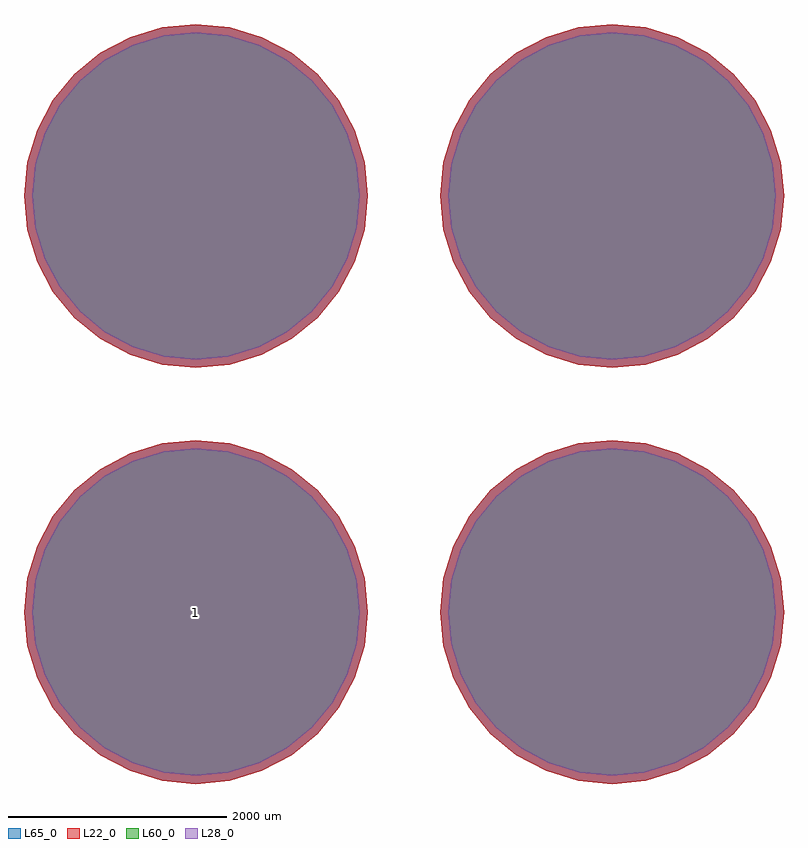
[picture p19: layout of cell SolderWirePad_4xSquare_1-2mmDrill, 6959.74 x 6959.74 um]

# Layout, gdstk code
import gdstk
lib = gdstk.Library(unit=1e-6, precision=1e-09)
def P(c, l, *ps):  # polygons
    for p in ps: c.add(gdstk.Polygon(p, *l))
L22_0 = (22, 0)
L28_0 = (28, 0)
L60_0 = (60, 0)
L65_0 = (65, 0)

solderwirepad_4xsquare_1 = lib.new_cell('SolderWirePad_4xSquare_1-2mmDrill')
P(solderwirepad_4xsquare_1, L22_0, [(3479.87,1905),(3449.609,2212.242),(3359.99,2507.677),(3214.457,2779.951),(3018.601,3018.601),(2779.951,3214.457),(2507.677,3359.99),(2212.242,3449.609),(1905,3479.87),(1597.758,3449.609),(1302.323,3359.99),(1030.049,3214.457),(791.399,3018.601),(595.543,2779.951),(450.01,2507.677),(360.391,2212.242),(330.13,1905),(360.391,1597.758),(450.01,1302.323),(595.543,1030.049),(791.399,791.399),(1030.049,595.543),(1302.323,450.01),(1597.758,360.391),(1905,330.13),(2212.242,360.391),(2507.677,450.01),(2779.951,595.543),(3018.601,791.399),(3214.457,1030.049),(3359.99,1302.323),(3449.609,1597.758)],
  [(-330.13,1905),(-360.391,2212.242),(-450.01,2507.677),(-595.543,2779.951),(-791.399,3018.601),(-1030.049,3214.457),(-1302.323,3359.99),(-1597.758,3449.609),(-1905,3479.87),(-2212.242,3449.609),(-2507.677,3359.99),(-2779.951,3214.457),(-3018.601,3018.601),(-3214.457,2779.951),(-3359.99,2507.677),(-3449.609,2212.242),(-3479.87,1905),(-3449.609,1597.758),(-3359.99,1302.323),(-3214.457,1030.049),(-3018.601,791.399),(-2779.951,595.543),(-2507.677,450.01),(-2212.242,360.391),(-1905,330.13),(-1597.758,360.391),(-1302.323,450.01),(-1030.049,595.543),(-791.399,791.399),(-595.543,1030.049),(-450.01,1302.323),(-360.391,1597.758)],
  [(3479.87,-1905),(3449.609,-1597.758),(3359.99,-1302.323),(3214.457,-1030.049),(3018.601,-791.399),(2779.951,-595.543),(2507.677,-450.01),(2212.242,-360.391),(1905,-330.13),(1597.758,-360.391),(1302.323,-450.01),(1030.049,-595.543),(791.399,-791.399),(595.543,-1030.049),(450.01,-1302.323),(360.391,-1597.758),(330.13,-1905),(360.391,-2212.242),(450.01,-2507.677),(595.543,-2779.951),(791.399,-3018.601),(1030.049,-3214.457),(1302.323,-3359.99),(1597.758,-3449.609),(1905,-3479.87),(2212.242,-3449.609),(2507.677,-3359.99),(2779.951,-3214.457),(3018.601,-3018.601),(3214.457,-2779.951),(3359.99,-2507.677),(3449.609,-2212.242)],
  [(-330.13,-1905),(-360.391,-1597.758),(-450.01,-1302.323),(-595.543,-1030.049),(-791.399,-791.399),(-1030.049,-595.543),(-1302.323,-450.01),(-1597.758,-360.391),(-1905,-330.13),(-2212.242,-360.391),(-2507.677,-450.01),(-2779.951,-595.543),(-3018.601,-791.399),(-3214.457,-1030.049),(-3359.99,-1302.323),(-3449.609,-1597.758),(-3479.87,-1905),(-3449.609,-2212.242),(-3359.99,-2507.677),(-3214.457,-2779.951),(-3018.601,-3018.601),(-2779.951,-3214.457),(-2507.677,-3359.99),(-2212.242,-3449.609),(-1905,-3479.87),(-1597.758,-3449.609),(-1302.323,-3359.99),(-1030.049,-3214.457),(-791.399,-3018.601),(-595.543,-2779.951),(-450.01,-2507.677),(-360.391,-2212.242)])
P(solderwirepad_4xsquare_1, L28_0, [(3404.87,1905),(3376.05,2197.61),(3290.699,2478.975),(3152.096,2738.283),(2965.568,2965.568),(2738.283,3152.096),(2478.975,3290.699),(2197.61,3376.05),(1905,3404.87),(1612.39,3376.05),(1331.025,3290.699),(1071.717,3152.096),(844.432,2965.568),(657.904,2738.283),(519.301,2478.975),(433.95,2197.61),(405.13,1905),(433.95,1612.39),(519.301,1331.025),(657.904,1071.717),(844.432,844.432),(1071.717,657.904),(1331.025,519.301),(1612.39,433.95),(1905,405.13),(2197.61,433.95),(2478.975,519.301),(2738.283,657.904),(2965.568,844.432),(3152.096,1071.717),(3290.699,1331.025),(3376.05,1612.39)],
  [(-405.13,1905),(-433.95,2197.61),(-519.301,2478.975),(-657.904,2738.283),(-844.432,2965.568),(-1071.717,3152.096),(-1331.025,3290.699),(-1612.39,3376.05),(-1905,3404.87),(-2197.61,3376.05),(-2478.975,3290.699),(-2738.283,3152.096),(-2965.568,2965.568),(-3152.096,2738.283),(-3290.699,2478.975),(-3376.05,2197.61),(-3404.87,1905),(-3376.05,1612.39),(-3290.699,1331.025),(-3152.096,1071.717),(-2965.568,844.432),(-2738.283,657.904),(-2478.975,519.301),(-2197.61,433.95),(-1905,405.13),(-1612.39,433.95),(-1331.025,519.301),(-1071.717,657.904),(-844.432,844.432),(-657.904,1071.717),(-519.301,1331.025),(-433.95,1612.39)],
  [(3404.87,-1905),(3376.05,-1612.39),(3290.699,-1331.025),(3152.096,-1071.717),(2965.568,-844.432),(2738.283,-657.904),(2478.975,-519.301),(2197.61,-433.95),(1905,-405.13),(1612.39,-433.95),(1331.025,-519.301),(1071.717,-657.904),(844.432,-844.432),(657.904,-1071.717),(519.301,-1331.025),(433.95,-1612.39),(405.13,-1905),(433.95,-2197.61),(519.301,-2478.975),(657.904,-2738.283),(844.432,-2965.568),(1071.717,-3152.096),(1331.025,-3290.699),(1612.39,-3376.05),(1905,-3404.87),(2197.61,-3376.05),(2478.975,-3290.699),(2738.283,-3152.096),(2965.568,-2965.568),(3152.096,-2738.283),(3290.699,-2478.975),(3376.05,-2197.61)],
  [(-405.13,-1905),(-433.95,-1612.39),(-519.301,-1331.025),(-657.904,-1071.717),(-844.432,-844.432),(-1071.717,-657.904),(-1331.025,-519.301),(-1612.39,-433.95),(-1905,-405.13),(-2197.61,-433.95),(-2478.975,-519.301),(-2738.283,-657.904),(-2965.568,-844.432),(-3152.096,-1071.717),(-3290.699,-1331.025),(-3376.05,-1612.39),(-3404.87,-1905),(-3376.05,-2197.61),(-3290.699,-2478.975),(-3152.096,-2738.283),(-2965.568,-2965.568),(-2738.283,-3152.096),(-2478.975,-3290.699),(-2197.61,-3376.05),(-1905,-3404.87),(-1612.39,-3376.05),(-1331.025,-3290.699),(-1071.717,-3152.096),(-844.432,-2965.568),(-657.904,-2738.283),(-519.301,-2478.975),(-433.95,-2197.61)])
P(solderwirepad_4xsquare_1, L60_0, [(3404.87,1905),(3376.05,2197.61),(3290.699,2478.975),(3152.096,2738.283),(2965.568,2965.568),(2738.283,3152.096),(2478.975,3290.699),(2197.61,3376.05),(1905,3404.87),(1612.39,3376.05),(1331.025,3290.699),(1071.717,3152.096),(844.432,2965.568),(657.904,2738.283),(519.301,2478.975),(433.95,2197.61),(405.13,1905),(433.95,1612.39),(519.301,1331.025),(657.904,1071.717),(844.432,844.432),(1071.717,657.904),(1331.025,519.301),(1612.39,433.95),(1905,405.13),(2197.61,433.95),(2478.975,519.301),(2738.283,657.904),(2965.568,844.432),(3152.096,1071.717),(3290.699,1331.025),(3376.05,1612.39)],
  [(-405.13,1905),(-433.95,2197.61),(-519.301,2478.975),(-657.904,2738.283),(-844.432,2965.568),(-1071.717,3152.096),(-1331.025,3290.699),(-1612.39,3376.05),(-1905,3404.87),(-2197.61,3376.05),(-2478.975,3290.699),(-2738.283,3152.096),(-2965.568,2965.568),(-3152.096,2738.283),(-3290.699,2478.975),(-3376.05,2197.61),(-3404.87,1905),(-3376.05,1612.39),(-3290.699,1331.025),(-3152.096,1071.717),(-2965.568,844.432),(-2738.283,657.904),(-2478.975,519.301),(-2197.61,433.95),(-1905,405.13),(-1612.39,433.95),(-1331.025,519.301),(-1071.717,657.904),(-844.432,844.432),(-657.904,1071.717),(-519.301,1331.025),(-433.95,1612.39)],
  [(3404.87,-1905),(3376.05,-1612.39),(3290.699,-1331.025),(3152.096,-1071.717),(2965.568,-844.432),(2738.283,-657.904),(2478.975,-519.301),(2197.61,-433.95),(1905,-405.13),(1612.39,-433.95),(1331.025,-519.301),(1071.717,-657.904),(844.432,-844.432),(657.904,-1071.717),(519.301,-1331.025),(433.95,-1612.39),(405.13,-1905),(433.95,-2197.61),(519.301,-2478.975),(657.904,-2738.283),(844.432,-2965.568),(1071.717,-3152.096),(1331.025,-3290.699),(1612.39,-3376.05),(1905,-3404.87),(2197.61,-3376.05),(2478.975,-3290.699),(2738.283,-3152.096),(2965.568,-2965.568),(3152.096,-2738.283),(3290.699,-2478.975),(3376.05,-2197.61)],
  [(-405.13,-1905),(-433.95,-1612.39),(-519.301,-1331.025),(-657.904,-1071.717),(-844.432,-844.432),(-1071.717,-657.904),(-1331.025,-519.301),(-1612.39,-433.95),(-1905,-405.13),(-2197.61,-433.95),(-2478.975,-519.301),(-2738.283,-657.904),(-2965.568,-844.432),(-3152.096,-1071.717),(-3290.699,-1331.025),(-3376.05,-1612.39),(-3404.87,-1905),(-3376.05,-2197.61),(-3290.699,-2478.975),(-3152.096,-2738.283),(-2965.568,-2965.568),(-2738.283,-3152.096),(-2478.975,-3290.699),(-2197.61,-3376.05),(-1905,-3404.87),(-1612.39,-3376.05),(-1331.025,-3290.699),(-1071.717,-3152.096),(-844.432,-2965.568),(-657.904,-2738.283),(-519.301,-2478.975),(-433.95,-2197.61)])
P(solderwirepad_4xsquare_1, L65_0, [(3479.87,1905),(3449.609,2212.242),(3359.99,2507.677),(3214.457,2779.951),(3018.601,3018.601),(2779.951,3214.457),(2507.677,3359.99),(2212.242,3449.609),(1905,3479.87),(1597.758,3449.609),(1302.323,3359.99),(1030.049,3214.457),(791.399,3018.601),(595.543,2779.951),(450.01,2507.677),(360.391,2212.242),(330.13,1905),(360.391,1597.758),(450.01,1302.323),(595.543,1030.049),(791.399,791.399),(1030.049,595.543),(1302.323,450.01),(1597.758,360.391),(1905,330.13),(2212.242,360.391),(2507.677,450.01),(2779.951,595.543),(3018.601,791.399),(3214.457,1030.049),(3359.99,1302.323),(3449.609,1597.758)],
  [(-330.13,1905),(-360.391,2212.242),(-450.01,2507.677),(-595.543,2779.951),(-791.399,3018.601),(-1030.049,3214.457),(-1302.323,3359.99),(-1597.758,3449.609),(-1905,3479.87),(-2212.242,3449.609),(-2507.677,3359.99),(-2779.951,3214.457),(-3018.601,3018.601),(-3214.457,2779.951),(-3359.99,2507.677),(-3449.609,2212.242),(-3479.87,1905),(-3449.609,1597.758),(-3359.99,1302.323),(-3214.457,1030.049),(-3018.601,791.399),(-2779.951,595.543),(-2507.677,450.01),(-2212.242,360.391),(-1905,330.13),(-1597.758,360.391),(-1302.323,450.01),(-1030.049,595.543),(-791.399,791.399),(-595.543,1030.049),(-450.01,1302.323),(-360.391,1597.758)],
  [(3479.87,-1905),(3449.609,-1597.758),(3359.99,-1302.323),(3214.457,-1030.049),(3018.601,-791.399),(2779.951,-595.543),(2507.677,-450.01),(2212.242,-360.391),(1905,-330.13),(1597.758,-360.391),(1302.323,-450.01),(1030.049,-595.543),(791.399,-791.399),(595.543,-1030.049),(450.01,-1302.323),(360.391,-1597.758),(330.13,-1905),(360.391,-2212.242),(450.01,-2507.677),(595.543,-2779.951),(791.399,-3018.601),(1030.049,-3214.457),(1302.323,-3359.99),(1597.758,-3449.609),(1905,-3479.87),(2212.242,-3449.609),(2507.677,-3359.99),(2779.951,-3214.457),(3018.601,-3018.601),(3214.457,-2779.951),(3359.99,-2507.677),(3449.609,-2212.242)],
  [(-330.13,-1905),(-360.391,-1597.758),(-450.01,-1302.323),(-595.543,-1030.049),(-791.399,-791.399),(-1030.049,-595.543),(-1302.323,-450.01),(-1597.758,-360.391),(-1905,-330.13),(-2212.242,-360.391),(-2507.677,-450.01),(-2779.951,-595.543),(-3018.601,-791.399),(-3214.457,-1030.049),(-3359.99,-1302.323),(-3449.609,-1597.758),(-3479.87,-1905),(-3449.609,-2212.242),(-3359.99,-2507.677),(-3214.457,-2779.951),(-3018.601,-3018.601),(-2779.951,-3214.457),(-2507.677,-3359.99),(-2212.242,-3449.609),(-1905,-3479.87),(-1597.758,-3449.609),(-1302.323,-3359.99),(-1030.049,-3214.457),(-791.399,-3018.601),(-595.543,-2779.951),(-450.01,-2507.677),(-360.391,-2212.242)])
solderwirepad_4xsquare_1.add(gdstk.Label('1', (-1905,-1905), layer=28, texttype=0))
solderwirepad_4xsquare_1.add(gdstk.Label('type', (0,-5715), layer=9, texttype=0))
solderwirepad_4xsquare_1.add(gdstk.Label('devicename', (0,5715), layer=9, texttype=0))

lib.write_gds('SolderWirePad_4xSquare_1-2mmDrill.gds')
